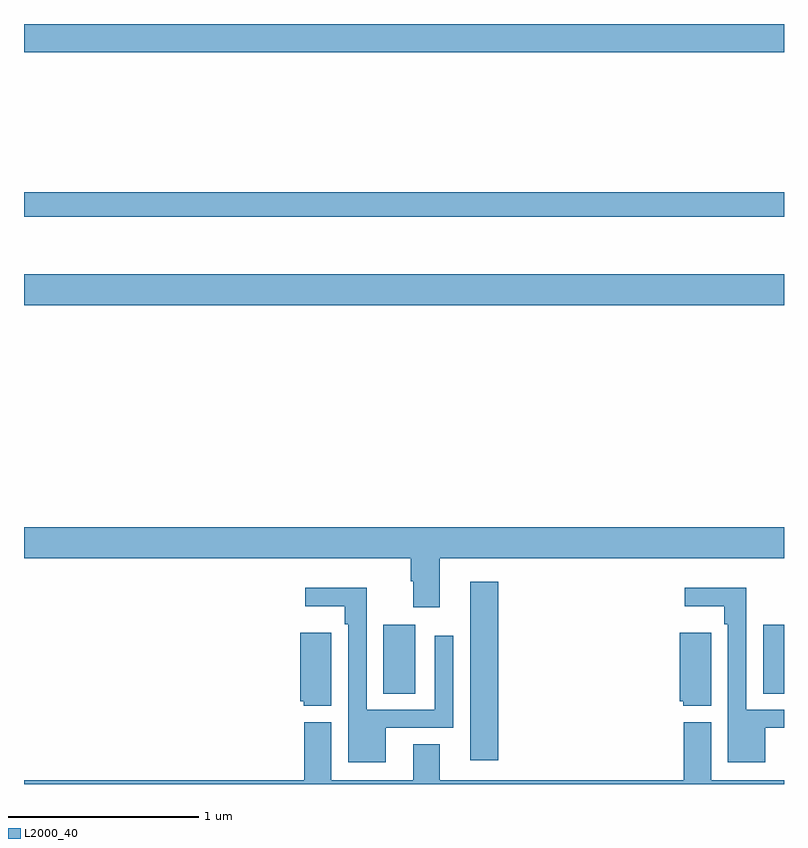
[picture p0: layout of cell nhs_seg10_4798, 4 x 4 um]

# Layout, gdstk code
import gdstk
lib = gdstk.Library(unit=1e-6, precision=1e-09)
def R(c, l, rs):  # rectangles x0, y0, x1, y1
    for r in rs: c.add(gdstk.rectangle(r[:2], r[2:], *l))
def P(c, l, *ps):  # polygons
    for p in ps: c.add(gdstk.Polygon(p, *l))
L2000_40 = (2000, 40)

nhs_seg10_4798 = lib.new_cell('nhs_seg10_4798')
R(nhs_seg10_4798, L2000_40, [(389.348,1260.624,389.495,1261.564), (388.892,1260.976,389.059,1261.339), (390.89,1260.976,391,1261.339), (387,1263.02,391,1263.184), (387,1263.486,391,1263.614), (387,1264.352,391,1264.5)])
P(nhs_seg10_4798, L2000_40, [(389.188,1261.688),(391,1261.688),(391,1261.852),(387,1261.852),(387,1261.688),(389.036,1261.688),(389.036,1261.568),(389.048,1261.568),(389.048,1261.431),(389.188,1261.431)],
  [(390.901,1260.795),(391,1260.795),(391,1260.891),(390.801,1260.891),(390.801,1261.534),(390.477,1261.534),(390.477,1261.436),(390.685,1261.436),(390.685,1261.34),(390.705,1261.34),(390.705,1260.614),(390.901,1260.614)],
  [(388.903,1260.795),(389.259,1260.795),(389.259,1261.279),(389.163,1261.279),(389.163,1260.891),(388.803,1260.891),(388.803,1261.534),(388.479,1261.534),(388.479,1261.436),(388.687,1261.436),(388.687,1261.34),(388.707,1261.34),(388.707,1260.614),(388.903,1260.614)],
  [(388.618,1261.297),(388.454,1261.297),(388.454,1260.936),(388.473,1260.936),(388.473,1260.911),(388.618,1260.911)],
  [(390.616,1261.297),(390.452,1261.297),(390.452,1260.936),(390.471,1260.936),(390.471,1260.911),(390.616,1260.911)],
  [(391,1260.52),(390.616,1260.52),(390.616,1260.826),(390.473,1260.826),(390.473,1260.52),(389.188,1260.52),(389.188,1260.71),(389.048,1260.71),(389.048,1260.52),(388.618,1260.52),(388.618,1260.826),(388.475,1260.826),(388.475,1260.52),(387,1260.52),(387,1260.5),(391,1260.5)])

lib.write_gds('nhs_seg10_4798.gds')
